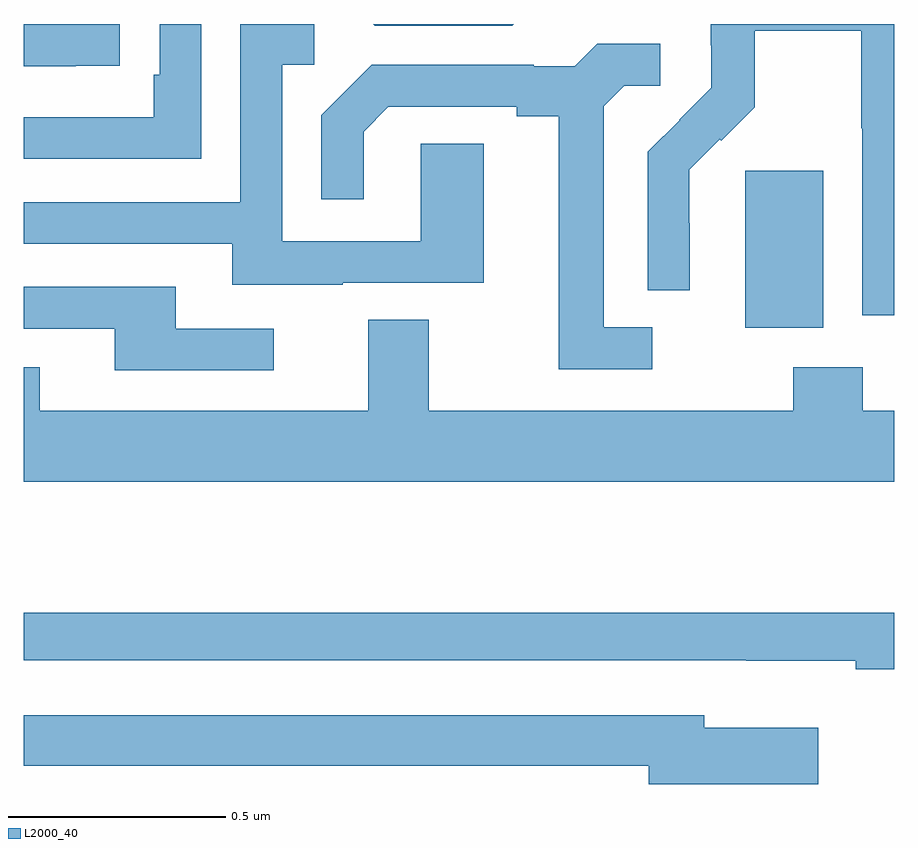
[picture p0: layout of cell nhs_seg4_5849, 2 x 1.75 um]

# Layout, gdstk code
import gdstk
lib = gdstk.Library(unit=1e-6, precision=1e-09)
def R(c, l, rs):  # rectangles x0, y0, x1, y1
    for r in rs: c.add(gdstk.rectangle(r[:2], r[2:], *l))
def P(c, l, *ps):  # polygons
    for p in ps: c.add(gdstk.Polygon(p, *l))
L2000_40 = (2000, 40)

nhs_seg4_5849 = lib.new_cell('nhs_seg4_5849')
R(nhs_seg4_5849, L2000_40, [(184.658,769.202,184.837,769.563)])
P(nhs_seg4_5849, L2000_40, [(185,769.9),(184.578,769.9),(184.578,769.851),(184.58,769.851),(184.58,769.754),(184.506,769.68),(184.507,769.679),(184.434,769.606),(184.434,769.288),(184.53,769.288),(184.53,769.442),(184.529,769.442),(184.529,769.565),(184.599,769.635),(184.602,769.632),(184.679,769.709),(184.679,769.884),(184.924,769.884),(184.924,769.66),(184.926,769.66),(184.926,769.231),(185,769.231)],
  [(184.126,769.9),(183.803,769.9),(183.807,769.896),(184.122,769.896)],
  [(183.733,769.305),(184.057,769.305),(184.057,769.625),(183.912,769.625),(183.912,769.401),(183.594,769.401),(183.594,769.806),(183.667,769.806),(183.667,769.9),(183.498,769.9),(183.498,769.491),(183,769.491),(183,769.395),(183.479,769.395),(183.479,769.301),(183.733,769.301)],
  [(183.119,769.804),(183.221,769.804),(183.221,769.9),(183.125,769.9),(183.125,769.899),(183,769.899),(183,769.803),(183.119,769.803)],
  [(183.408,769.9),(183.312,769.9),(183.312,769.783),(183.299,769.783),(183.299,769.686),(183,769.686),(183,769.59),(183.408,769.59)],
  [(184.444,769.203),(184.333,769.203),(184.333,769.711),(184.38,769.758),(184.462,769.758),(184.462,769.855),(184.318,769.855),(184.266,769.803),(184.172,769.803),(184.172,769.806),(183.8,769.806),(183.684,769.69),(183.684,769.497),(183.781,769.497),(183.781,769.653),(183.838,769.71),(184.133,769.71),(184.133,769.688),(184.229,769.688),(184.229,769.107),(184.444,769.107)],
  [(183.574,769.2),(183.349,769.2),(183.349,769.296),(183,769.296),(183,769.2),(183.209,769.2),(183.209,769.104),(183.574,769.104)],
  [(185,769.012),(184.928,769.012),(184.928,769.111),(184.768,769.111),(184.768,769.012),(183.931,769.012),(183.931,769.22),(183.791,769.22),(183.791,769.012),(183.037,769.012),(183.037,769.111),(183,769.111),(183,768.848),(185,768.848)],
  [(185,768.547),(183,768.547),(183,768.438),(184.66,768.438),(184.66,768.437),(184.912,768.437),(184.912,768.418),(185,768.418)],
  [(184.825,768.283),(184.564,768.283),(184.564,768.312),(183,768.312),(183,768.196),(184.436,768.196),(184.436,768.154),(184.825,768.154)])

lib.write_gds('nhs_seg4_5849.gds')
